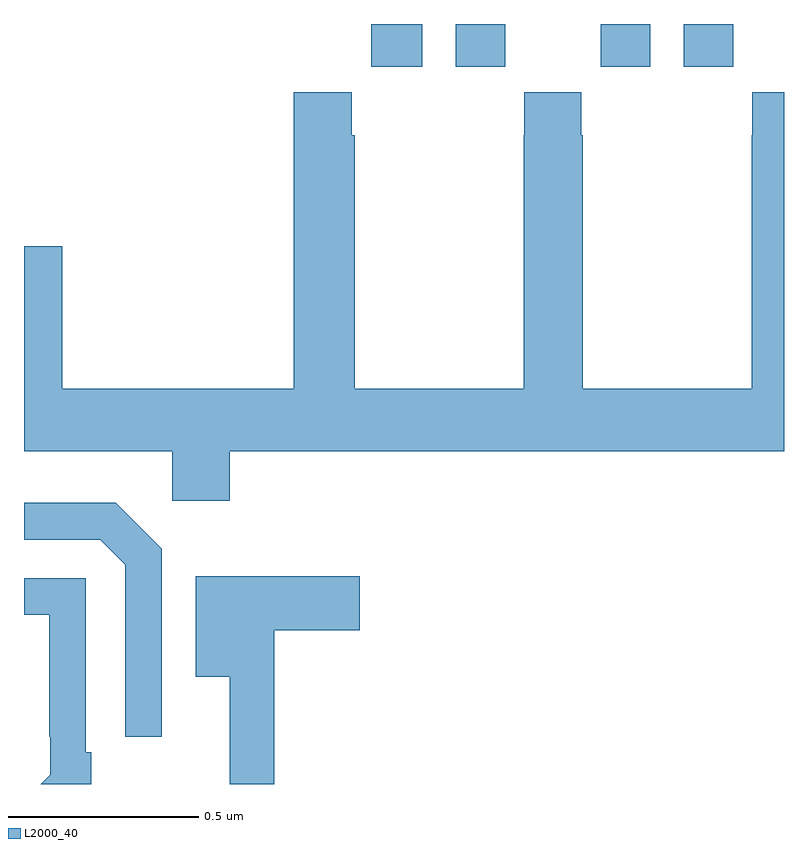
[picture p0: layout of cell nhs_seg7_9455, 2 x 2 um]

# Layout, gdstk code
import gdstk
lib = gdstk.Library(unit=1e-6, precision=1e-09)
def R(c, l, rs):  # rectangles x0, y0, x1, y1
    for r in rs: c.add(gdstk.rectangle(r[:2], r[2:], *l))
def P(c, l, *ps):  # polygons
    for p in ps: c.add(gdstk.Polygon(p, *l))
L2000_40 = (2000, 40)

nhs_seg7_9455 = lib.new_cell('nhs_seg7_9455')
R(nhs_seg7_9455, L2000_40, [(237.914,1074.888,238.048,1075), (238.136,1074.888,238.266,1075), (238.518,1074.888,238.648,1075), (238.736,1074.888,238.866,1075)])
P(nhs_seg7_9455, L2000_40, [(237.542,1073.876),(239,1073.876),(239,1074.82),(238.917,1074.82),(238.917,1074.707),(238.915,1074.707),(238.915,1074.04),(238.47,1074.04),(238.47,1074.707),(238.467,1074.707),(238.467,1074.82),(238.317,1074.82),(238.317,1074.707),(238.315,1074.707),(238.315,1074.04),(237.87,1074.04),(237.87,1074.707),(237.863,1074.707),(237.863,1074.82),(237.71,1074.82),(237.71,1074.04),(237.1,1074.04),(237.1,1074.415),(237,1074.415),(237,1073.876),(237.39,1073.876),(237.39,1073.745),(237.542,1073.745)],
  [(237.363,1073.619),(237.242,1073.74),(237,1073.74),(237,1073.643),(237.201,1073.643),(237.267,1073.577),(237.267,1073.124),(237.363,1073.124)],
  [(237.659,1073.405),(237.883,1073.405),(237.883,1073.547),(237.452,1073.547),(237.452,1073.282),(237.542,1073.282),(237.542,1073),(237.659,1073)],
  [(237.177,1073.083),(237.162,1073.083),(237.162,1073.541),(237,1073.541),(237,1073.445),(237.066,1073.445),(237.066,1073.125),(237.069,1073.125),(237.069,1073.025),(237.044,1073),(237.177,1073)])

lib.write_gds('nhs_seg7_9455.gds')
